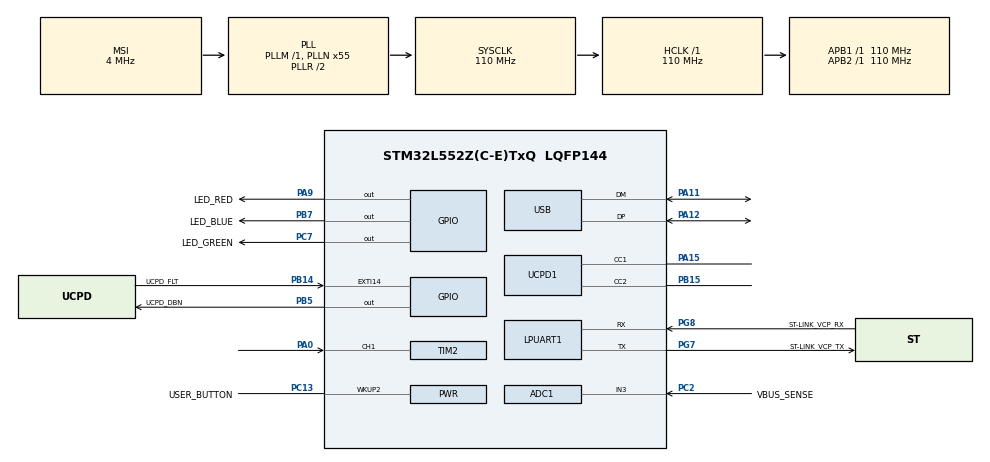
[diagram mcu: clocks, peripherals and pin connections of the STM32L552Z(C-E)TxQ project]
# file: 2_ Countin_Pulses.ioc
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ADC1.Channel-0\#ChannelRegularConversion=ADC_CHANNEL_3
ADC1.NbrOfConversionFlag=1
ADC1.OffsetNumber-0\#ChannelRegularConversion=ADC_OFFSET_NONE
ADC1.Rank-0\#ChannelRegularConversion=1
ADC1.SamplingTime-0\#ChannelRegularConversion=ADC_SAMPLETIME_2CYCLES_5
ADC1.master=1
Mcu.Family=STM32L5
Mcu.Name=STM32L552Z(C-E)TxQ
Mcu.Package=LQFP144
Mcu.TrustZone=disable
NVIC.PriorityGroup=NVIC_PRIORITYGROUP_3
NVIC.TIM2_IRQn=true\:0\:0\:false\:false\:true\:true\:true\:true
PA0.Signal=S_TIM2_CH1
PA11.Mode=Device
PA11.Signal=USB_DM
PA12.Mode=Device
PA12.Signal=USB_DP
PA13\ (JTMS/SWDIO).Mode=Trace_Asynchronous_SW
PA13\ (JTMS/SWDIO).Signal=DEBUG_JTMS-SWDIO
PA14\ (JTCK/SWCLK).Mode=Trace_Asynchronous_SW
PA14\ (JTCK/SWCLK).Signal=DEBUG_JTCK-SWCLK
PA15\ (JTDI).Mode=Source_AllSignals
PA15\ (JTDI).Signal=UCPD1_CC1
PA9.GPIO_Label=LED_RED
PA9.Signal=GPIO_Output
PB14.GPIO_Label=UCPD_FLT
PB14.Signal=GPXTI14
PB15.Mode=Source_AllSignals
PB15.Signal=UCPD1_CC2
PB3\ (JTDO/TRACESWO).Mode=Trace_Asynchronous_SW
PB3\ (JTDO/TRACESWO).Signal=DEBUG_JTDO-SWO
PB5.GPIO_Label=UCPD_DBN
PB5.Signal=GPIO_Output
PB7.GPIO_Label=LED_BLUE
PB7.Signal=GPIO_Output
PC13.GPIO_Label=USER_BUTTON
PC13.Mode=WakeUp1
PC13.Signal=PWR_WKUP2
PC14-OSC32_IN\ (PC14).Mode=LSE-External-Oscillator
PC14-OSC32_IN\ (PC14).Signal=RCC_OSC32_IN
PC15-OSC32_OUT\ (PC15).Mode=LSE-External-Oscillator
PC15-OSC32_OUT\ (PC15).Signal=RCC_OSC32_OUT
PC2.GPIO_Label=VBUS_SENSE
PC2.Signal=ADCx_IN3
PC7.GPIO_Label=LED_GREEN
PC7.Signal=GPIO_Output
PG7.GPIO_Label=ST-LINK_VCP_TX
PG7.Mode=Asynchronous
PG7.Signal=LPUART1_TX
PG8.GPIO_Label=ST-LINK_VCP_RX
PG8.Mode=Asynchronous
PG8.Signal=LPUART1_RX
ProjectManager.HeapSize=0x200
ProjectManager.StackSize=0x400
ProjectManager.TargetToolchain=STM32CubeIDE
RCC.ADCCLockSelection=RCC_ADCCLKSOURCE_SYSCLK
RCC.ADCFreq_Value=110000000
RCC.AHBFreq_Value=110000000
RCC.APB1Freq_Value=110000000
RCC.APB1TimFreq_Value=110000000
RCC.APB2Freq_Value=110000000
RCC.APB2TimFreq_Value=110000000
RCC.CK48CLockSelection=RCC_USBCLKSOURCE_HSI48
RCC.CortexFreq_Value=110000000
RCC.HCLKFreq_Value=110000000
RCC.HSE_VALUE=8000000
RCC.HSI48_VALUE=48000000
RCC.HSI_VALUE=16000000
RCC.MSI_VALUE=4000000
RCC.PLLN=55
RCC.PLLSAI1N=24
RCC.RTCClockSelection=RCC_RTCCLKSOURCE_LSE
RCC.SYSCLKFreq_VALUE=110000000
RCC.SYSCLKSource=RCC_SYSCLKSOURCE_PLLCLK
RCC.USBFreq_Value=48000000
RCC.VCOOutputFreq_Value=220000000
SH.ADCx_IN3.0=ADC1_IN3,IN3-Single-Ended
SH.S_TIM2_CH1.0=TIM2_CH1,TriggerSource_TI1FP1
TIM2.Period=4294967296-1
VP_PWR_VS_DBSignals.Mode=DisableDeadBatterySignals
VP_RTC_VS_RTC_Activate.Mode=RTC_Enabled
VP_TIM2_VS_ControllerModeClock.Mode=Clock Mode
board=NUCLEO-L552ZE-Q

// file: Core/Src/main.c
/* USER CODE BEGIN Header */
/**
  ******************************************************************************
  * @file           : main.c
  * @brief          : Main program body
  ******************************************************************************
  * @attention
  *
  * Copyright (c) 2022 STMicroelectronics.
  * All rights reserved.
  *
  * This software is licensed under terms that can be found in the LICENSE file
  * in the root directory of this software component.
  * If no LICENSE file comes with this software, it is provided AS-IS.
  *
  ******************************************************************************
  */
/* USER CODE END Header */
#include "main.h"

ADC_HandleTypeDef hadc1;

UART_HandleTypeDef hlpuart1;

RTC_HandleTypeDef hrtc;

TIM_HandleTypeDef htim2;

PCD_HandleTypeDef hpcd_USB_FS;

void SystemClock_Config(void);
static void MX_GPIO_Init(void);
static void MX_ADC1_Init(void);
static void MX_LPUART1_UART_Init(void);
static void MX_RTC_Init(void);
static void MX_UCPD1_Init(void);
static void MX_USB_PCD_Init(void);
static void MX_TIM2_Init(void);

/* USER CODE BEGIN 0 */

uint32_t count2;

uint32_t millis;

uint32_t debug1;
uint32_t debug2;
uint32_t debug3;
uint32_t debug4;
uint32_t debug5;
uint32_t debug6;
uint32_t debug7;
uint32_t debug8;
uint32_t debug9;
uint32_t debug10;

uint32_t freq1;
uint32_t freq2;
uint32_t freq3;
uint32_t freq4;
uint32_t freq5;

uint32_t freq_iter_1;
uint32_t freq_iter_2;
uint32_t freq_iter_3;
uint32_t freq_iter_4;

uint32_t freq_mean;

uint32_t A;
uint32_t B;
uint32_t C;
uint32_t D;
uint32_t E;

uint32_t i;

/* USER CODE END 0 */

int main(void)
{

  /* MCU Configuration--------------------------------------------------------*/

  /* Reset of all peripherals, Initializes the Flash interface and the Systick. */
  HAL_Init();

  /* Configure the system clock */
  SystemClock_Config();

  /* Initialize all configured peripherals */
  MX_GPIO_Init();
  MX_ADC1_Init();
  MX_LPUART1_UART_Init();
  MX_RTC_Init();
  MX_UCPD1_Init();
  MX_USB_PCD_Init();
  MX_TIM2_Init();
  /* USER CODE BEGIN 2 */

  HAL_TIM_Base_Start(&htim2);

  /* USER CODE END 2 */

  /* Infinite loop */
  /* USER CODE BEGIN WHILE */
  while (1)
  {

		 // Execution time will be assigned into "millis" variable after debug as a millisecond
		 millis = HAL_GetTick();

		 // This function is used for to pull signals that coming from PA0 ( TIM2_CH1 )
		 count2 = __HAL_TIM_GetCounter(&htim2);

			if(millis == 10*A + i*10000)
			{
				// for 0.01 s TIM2
				debug1=debug2;
				debug2 = count2 *100;
				if (debug2>debug1)
				{
					freq1 = debug2-debug1;
				}
				freq_iter_1 = freq1;
				A++;

			}

			if(millis == 100*B + i*10000)
			{
				// for 0.1 s TIM2
				debug3 = debug4;
				debug4 = count2*10;
				if (debug4>debug3)
				{
					freq2 = debug4-debug3;
				}
				freq_iter_2 = (freq1 + freq2)/2;
				B++;
			}

			if(millis == 500*C + i*10000)
			{
				// for 0.5 s TIM2
				debug5 = debug6;
				debug6 = count2*2;
				if (debug6>debug5)
				{
					freq3 = debug6-debug5;
				}
				freq_iter_3 = (freq3 + freq2)/2;
				C++;
			}

			if(millis == 1000*D + i*10000)
			{
				// for 1 s TIM2
				debug7 = debug8;
				debug8 = count2*1;
				if (debug8>debug7)
				{
					freq4 = debug8-debug7;
				}
				freq_iter_4 = (freq3 + freq4)/2;
				D++;
			}

			if(millis == 10000*E + i*10000)
			{
				debug9 = debug10;
				debug10 = count2/10;
				if (debug10>debug9)
				{
					freq5 = debug10-debug9;
				}
				E++;
				i++;
				TIM2 ->CNT = 0;
			}

			freq_mean = (freq_iter_1+freq_iter_2+freq_iter_3+freq_iter_4)/4;

    /* USER CODE END WHILE */

  }
}

void SystemClock_Config(void)
{
  RCC_OscInitTypeDef RCC_OscInitStruct = {0};
  RCC_ClkInitTypeDef RCC_ClkInitStruct = {0};

  /** Configure the main internal regulator output voltage
  */
  if (HAL_PWREx_ControlVoltageScaling(PWR_REGULATOR_VOLTAGE_SCALE0) != HAL_OK)
  {
    Error_Handler();
  }

  /** Configure LSE Drive Capability
  */
  HAL_PWR_EnableBkUpAccess();
  __HAL_RCC_LSEDRIVE_CONFIG(RCC_LSEDRIVE_LOW);

  /** Initializes the RCC Oscillators according to the specified parameters
  * in the RCC_OscInitTypeDef structure.
  */
  RCC_OscInitStruct.OscillatorType = RCC_OSCILLATORTYPE_HSI48|RCC_OSCILLATORTYPE_LSE
                              |RCC_OSCILLATORTYPE_MSI;
  RCC_OscInitStruct.LSEState = RCC_LSE_ON;
  RCC_OscInitStruct.HSI48State = RCC_HSI48_ON;
  RCC_OscInitStruct.MSIState = RCC_MSI_ON;
  RCC_OscInitStruct.MSICalibrationValue = RCC_MSICALIBRATION_DEFAULT;
  RCC_OscInitStruct.MSIClockRange = RCC_MSIRANGE_6;
  RCC_OscInitStruct.PLL.PLLState = RCC_PLL_ON;
  RCC_OscInitStruct.PLL.PLLSource = RCC_PLLSOURCE_MSI;
  RCC_OscInitStruct.PLL.PLLM = 1;
  RCC_OscInitStruct.PLL.PLLN = 55;
  RCC_OscInitStruct.PLL.PLLP = RCC_PLLP_DIV7;
  RCC_OscInitStruct.PLL.PLLQ = RCC_PLLQ_DIV2;
  RCC_OscInitStruct.PLL.PLLR = RCC_PLLR_DIV2;
  if (HAL_RCC_OscConfig(&RCC_OscInitStruct) != HAL_OK)
  {
    Error_Handler();
  }

  /** Initializes the CPU, AHB and APB buses clocks
  */
  RCC_ClkInitStruct.ClockType = RCC_CLOCKTYPE_HCLK|RCC_CLOCKTYPE_SYSCLK
                              |RCC_CLOCKTYPE_PCLK1|RCC_CLOCKTYPE_PCLK2;
  RCC_ClkInitStruct.SYSCLKSource = RCC_SYSCLKSOURCE_PLLCLK;
  RCC_ClkInitStruct.AHBCLKDivider = RCC_SYSCLK_DIV1;
  RCC_ClkInitStruct.APB1CLKDivider = RCC_HCLK_DIV1;
  RCC_ClkInitStruct.APB2CLKDivider = RCC_HCLK_DIV1;

  if (HAL_RCC_ClockConfig(&RCC_ClkInitStruct, FLASH_LATENCY_5) != HAL_OK)
  {
    Error_Handler();
  }
}

static void MX_ADC1_Init(void)
{

  ADC_MultiModeTypeDef multimode = {0};
  ADC_ChannelConfTypeDef sConfig = {0};

  /** Common config
  */
  hadc1.Instance = ADC1;
  hadc1.Init.ClockPrescaler = ADC_CLOCK_ASYNC_DIV1;
  hadc1.Init.Resolution = ADC_RESOLUTION_12B;
  hadc1.Init.DataAlign = ADC_DATAALIGN_RIGHT;
  hadc1.Init.ScanConvMode = ADC_SCAN_DISABLE;
  hadc1.Init.EOCSelection = ADC_EOC_SINGLE_CONV;
  hadc1.Init.LowPowerAutoWait = DISABLE;
  hadc1.Init.ContinuousConvMode = DISABLE;
  hadc1.Init.NbrOfConversion = 1;
  hadc1.Init.DiscontinuousConvMode = DISABLE;
  hadc1.Init.ExternalTrigConv = ADC_SOFTWARE_START;
  hadc1.Init.ExternalTrigConvEdge = ADC_EXTERNALTRIGCONVEDGE_NONE;
  hadc1.Init.DMAContinuousRequests = DISABLE;
  hadc1.Init.Overrun = ADC_OVR_DATA_PRESERVED;
  hadc1.Init.OversamplingMode = DISABLE;
  if (HAL_ADC_Init(&hadc1) != HAL_OK)
  {
    Error_Handler();
  }

  /** Configure the ADC multi-mode
  */
  multimode.Mode = ADC_MODE_INDEPENDENT;
  if (HAL_ADCEx_MultiModeConfigChannel(&hadc1, &multimode) != HAL_OK)
  {
    Error_Handler();
  }

  /** Configure Regular Channel
  */
  sConfig.Channel = ADC_CHANNEL_3;
  sConfig.Rank = ADC_REGULAR_RANK_1;
  sConfig.SamplingTime = ADC_SAMPLETIME_2CYCLES_5;
  sConfig.SingleDiff = ADC_SINGLE_ENDED;
  sConfig.OffsetNumber = ADC_OFFSET_NONE;
  sConfig.Offset = 0;
  if (HAL_ADC_ConfigChannel(&hadc1, &sConfig) != HAL_OK)
  {
    Error_Handler();
  }

}

static void MX_LPUART1_UART_Init(void)
{

  hlpuart1.Instance = LPUART1;
  hlpuart1.Init.BaudRate = 209700;
  hlpuart1.Init.WordLength = UART_WORDLENGTH_8B;
  hlpuart1.Init.StopBits = UART_STOPBITS_1;
  hlpuart1.Init.Parity = UART_PARITY_NONE;
  hlpuart1.Init.Mode = UART_MODE_TX_RX;
  hlpuart1.Init.HwFlowCtl = UART_HWCONTROL_NONE;
  hlpuart1.Init.OneBitSampling = UART_ONE_BIT_SAMPLE_DISABLE;
  hlpuart1.Init.ClockPrescaler = UART_PRESCALER_DIV1;
  hlpuart1.AdvancedInit.AdvFeatureInit = UART_ADVFEATURE_NO_INIT;
  hlpuart1.FifoMode = UART_FIFOMODE_DISABLE;
  if (HAL_UART_Init(&hlpuart1) != HAL_OK)
  {
    Error_Handler();
  }
  if (HAL_UARTEx_SetTxFifoThreshold(&hlpuart1, UART_TXFIFO_THRESHOLD_1_8) != HAL_OK)
  {
    Error_Handler();
  }
  if (HAL_UARTEx_SetRxFifoThreshold(&hlpuart1, UART_RXFIFO_THRESHOLD_1_8) != HAL_OK)
  {
    Error_Handler();
  }
  if (HAL_UARTEx_DisableFifoMode(&hlpuart1) != HAL_OK)
  {
    Error_Handler();
  }

}

static void MX_RTC_Init(void)
{

  RTC_PrivilegeStateTypeDef privilegeState = {0};

  /** Initialize RTC Only
  */
  hrtc.Instance = RTC;
  hrtc.Init.HourFormat = RTC_HOURFORMAT_24;
  hrtc.Init.AsynchPrediv = 127;
  hrtc.Init.SynchPrediv = 255;
  hrtc.Init.OutPut = RTC_OUTPUT_DISABLE;
  hrtc.Init.OutPutRemap = RTC_OUTPUT_REMAP_NONE;
  hrtc.Init.OutPutPolarity = RTC_OUTPUT_POLARITY_HIGH;
  hrtc.Init.OutPutType = RTC_OUTPUT_TYPE_OPENDRAIN;
  hrtc.Init.OutPutPullUp = RTC_OUTPUT_PULLUP_NONE;
  if (HAL_RTC_Init(&hrtc) != HAL_OK)
  {
    Error_Handler();
  }
  privilegeState.rtcPrivilegeFull = RTC_PRIVILEGE_FULL_NO;
  privilegeState.backupRegisterPrivZone = RTC_PRIVILEGE_BKUP_ZONE_NONE;
  privilegeState.backupRegisterStartZone2 = RTC_BKP_DR0;
  privilegeState.backupRegisterStartZone3 = RTC_BKP_DR0;
  if (HAL_RTCEx_PrivilegeModeSet(&hrtc, &privilegeState) != HAL_OK)
  {
    Error_Handler();
  }

}

static void MX_TIM2_Init(void)
{

  TIM_SlaveConfigTypeDef sSlaveConfig = {0};
  TIM_MasterConfigTypeDef sMasterConfig = {0};

  htim2.Instance = TIM2;
  htim2.Init.Prescaler = 0;
  htim2.Init.CounterMode = TIM_COUNTERMODE_UP;
  htim2.Init.Period = 4294967296-1;
  htim2.Init.ClockDivision = TIM_CLOCKDIVISION_DIV1;
  htim2.Init.AutoReloadPreload = TIM_AUTORELOAD_PRELOAD_DISABLE;
  if (HAL_TIM_Base_Init(&htim2) != HAL_OK)
  {
    Error_Handler();
  }
  sSlaveConfig.SlaveMode = TIM_SLAVEMODE_EXTERNAL1;
  sSlaveConfig.InputTrigger = TIM_TS_TI1FP1;
  sSlaveConfig.TriggerPolarity = TIM_TRIGGERPOLARITY_RISING;
  sSlaveConfig.TriggerFilter = 0;
  if (HAL_TIM_SlaveConfigSynchro(&htim2, &sSlaveConfig) != HAL_OK)
  {
    Error_Handler();
  }
  sMasterConfig.MasterOutputTrigger = TIM_TRGO_RESET;
  sMasterConfig.MasterSlaveMode = TIM_MASTERSLAVEMODE_DISABLE;
  if (HAL_TIMEx_MasterConfigSynchronization(&htim2, &sMasterConfig) != HAL_OK)
  {
    Error_Handler();
  }

}

static void MX_UCPD1_Init(void)
{

  LL_GPIO_InitTypeDef GPIO_InitStruct = {0};

  /* Peripheral clock enable */
  LL_APB1_GRP2_EnableClock(LL_APB1_GRP2_PERIPH_UCPD1);

  LL_AHB2_GRP1_EnableClock(LL_AHB2_GRP1_PERIPH_GPIOB);
  LL_AHB2_GRP1_EnableClock(LL_AHB2_GRP1_PERIPH_GPIOA);
  /**UCPD1 GPIO Configuration
  PB15   ------> UCPD1_CC2
  PA15 (JTDI)   ------> UCPD1_CC1
  */
  GPIO_InitStruct.Pin = LL_GPIO_PIN_15;
  GPIO_InitStruct.Mode = LL_GPIO_MODE_ANALOG;
  GPIO_InitStruct.Pull = LL_GPIO_PULL_NO;
  LL_GPIO_Init(GPIOB, &GPIO_InitStruct);

  GPIO_InitStruct.Pin = LL_GPIO_PIN_15;
  GPIO_InitStruct.Mode = LL_GPIO_MODE_ANALOG;
  GPIO_InitStruct.Pull = LL_GPIO_PULL_NO;
  LL_GPIO_Init(GPIOA, &GPIO_InitStruct);

}

static void MX_USB_PCD_Init(void)
{

  hpcd_USB_FS.Instance = USB;
  hpcd_USB_FS.Init.dev_endpoints = 8;
  hpcd_USB_FS.Init.speed = PCD_SPEED_FULL;
  hpcd_USB_FS.Init.phy_itface = PCD_PHY_EMBEDDED;
  hpcd_USB_FS.Init.Sof_enable = DISABLE;
  hpcd_USB_FS.Init.low_power_enable = DISABLE;
  hpcd_USB_FS.Init.lpm_enable = DISABLE;
  hpcd_USB_FS.Init.battery_charging_enable = DISABLE;
  if (HAL_PCD_Init(&hpcd_USB_FS) != HAL_OK)
  {
    Error_Handler();
  }

}

static void MX_GPIO_Init(void)
{
  GPIO_InitTypeDef GPIO_InitStruct = {0};

  /* GPIO Ports Clock Enable */
  __HAL_RCC_GPIOC_CLK_ENABLE();
  __HAL_RCC_GPIOA_CLK_ENABLE();
  __HAL_RCC_GPIOB_CLK_ENABLE();
  __HAL_RCC_GPIOG_CLK_ENABLE();
  HAL_PWREx_EnableVddIO2();

  /*Configure GPIO pin Output Level */
  HAL_GPIO_WritePin(LED_GREEN_GPIO_Port, LED_GREEN_Pin, GPIO_PIN_RESET);

  /*Configure GPIO pin Output Level */
  HAL_GPIO_WritePin(LED_RED_GPIO_Port, LED_RED_Pin, GPIO_PIN_RESET);

  /*Configure GPIO pin Output Level */
  HAL_GPIO_WritePin(GPIOB, UCPD_DBN_Pin|LED_BLUE_Pin, GPIO_PIN_RESET);

  /*Configure GPIO pin : UCPD_FLT_Pin */
  GPIO_InitStruct.Pin = UCPD_FLT_Pin;
  GPIO_InitStruct.Mode = GPIO_MODE_IT_RISING;
  GPIO_InitStruct.Pull = GPIO_NOPULL;
  HAL_GPIO_Init(UCPD_FLT_GPIO_Port, &GPIO_InitStruct);

  /*Configure GPIO pin : LED_GREEN_Pin */
  GPIO_InitStruct.Pin = LED_GREEN_Pin;
  GPIO_InitStruct.Mode = GPIO_MODE_OUTPUT_PP;
  GPIO_InitStruct.Pull = GPIO_NOPULL;
  GPIO_InitStruct.Speed = GPIO_SPEED_FREQ_LOW;
  HAL_GPIO_Init(LED_GREEN_GPIO_Port, &GPIO_InitStruct);

  /*Configure GPIO pin : LED_RED_Pin */
  GPIO_InitStruct.Pin = LED_RED_Pin;
  GPIO_InitStruct.Mode = GPIO_MODE_OUTPUT_PP;
  GPIO_InitStruct.Pull = GPIO_NOPULL;
  GPIO_InitStruct.Speed = GPIO_SPEED_FREQ_LOW;
  HAL_GPIO_Init(LED_RED_GPIO_Port, &GPIO_InitStruct);

  /*Configure GPIO pins : UCPD_DBN_Pin LED_BLUE_Pin */
  GPIO_InitStruct.Pin = UCPD_DBN_Pin|LED_BLUE_Pin;
  GPIO_InitStruct.Mode = GPIO_MODE_OUTPUT_PP;
  GPIO_InitStruct.Pull = GPIO_NOPULL;
  GPIO_InitStruct.Speed = GPIO_SPEED_FREQ_LOW;
  HAL_GPIO_Init(GPIOB, &GPIO_InitStruct);

}

void Error_Handler(void)
{
  __disable_irq();
  while (1)
  {
  }
}
